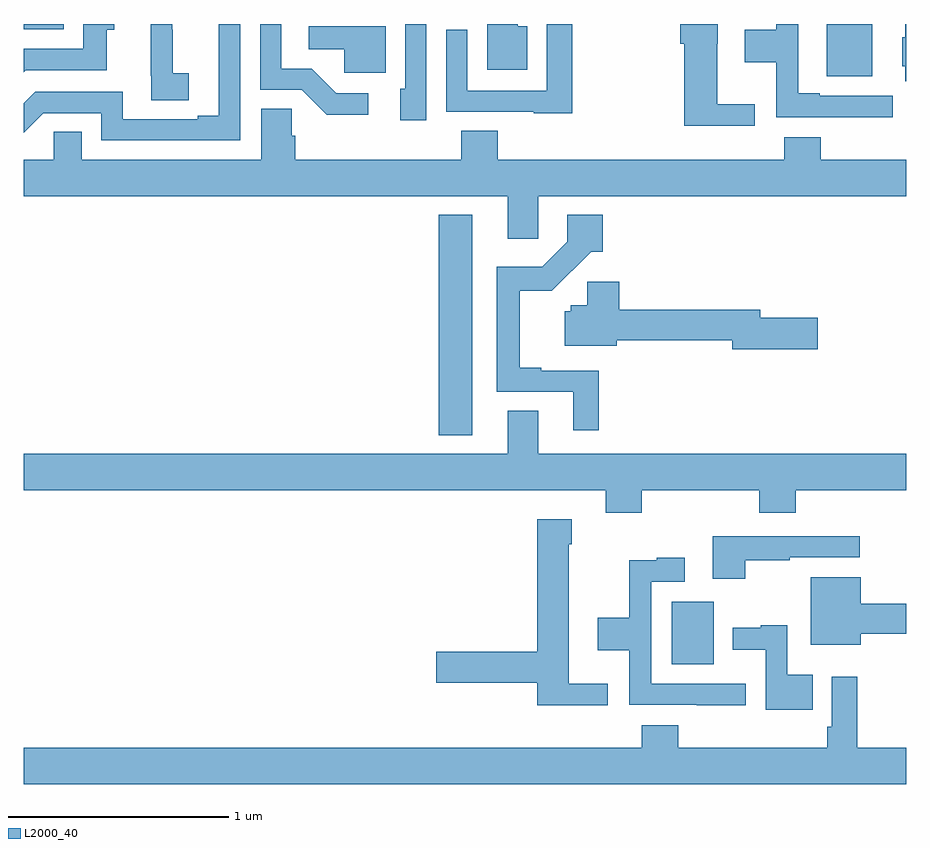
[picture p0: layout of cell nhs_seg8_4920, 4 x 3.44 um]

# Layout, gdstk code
import gdstk
lib = gdstk.Library(unit=1e-6, precision=1e-09)
def R(c, l, rs):  # rectangles x0, y0, x1, y1
    for r in rs: c.add(gdstk.rectangle(r[:2], r[2:], *l))
def P(c, l, *ps):  # polygons
    for p in ps: c.add(gdstk.Polygon(p, *l))
L2000_40 = (2000, 40)

nhs_seg8_4920 = lib.new_cell('nhs_seg8_4920')
R(nhs_seg8_4920, L2000_40, [(409.937,1160.999,410.128,1161.283), (408.881,1162.037,409.033,1163.035), (410.639,1163.663,410.845,1163.9), (407,1163.877,407.181,1163.9)])
P(nhs_seg8_4920, L2000_40, [(409.487,1163.9),(409.371,1163.9),(409.371,1163.598),(409.011,1163.598),(409.011,1163.875),(408.915,1163.875),(408.915,1163.502),(409.311,1163.502),(409.311,1163.495),(409.487,1163.495)],
  [(407.01,1163.691),(407.377,1163.691),(407.377,1163.875),(407.41,1163.875),(407.41,1163.9),(407.27,1163.9),(407.27,1163.787),(407,1163.787),(407,1163.681)],
  [(410.314,1163.537),(410.143,1163.537),(410.143,1163.811),(410.146,1163.811),(410.146,1163.9),(409.976,1163.9),(409.976,1163.811),(409.994,1163.811),(409.994,1163.438),(410.314,1163.438)],
  [(411,1163.9),(410.996,1163.9),(410.996,1163.841),(410.981,1163.841),(410.981,1163.709),(410.996,1163.709),(410.996,1163.64),(411,1163.64)],
  [(408.562,1163.586),(408.417,1163.586),(408.306,1163.697),(408.168,1163.697),(408.168,1163.9),(408.072,1163.9),(408.072,1163.601),(408.261,1163.601),(408.374,1163.489),(408.562,1163.489)],
  [(409.282,1163.89),(409.24,1163.89),(409.24,1163.9),(409.1,1163.9),(409.1,1163.693),(409.282,1163.693)],
  [(410.938,1163.574),(410.608,1163.574),(410.608,1163.587),(410.511,1163.587),(410.511,1163.9),(410.41,1163.9),(410.41,1163.874),(410.268,1163.874),(410.268,1163.726),(410.41,1163.726),(410.41,1163.478),(410.695,1163.478),(410.695,1163.477),(410.938,1163.477)],
  [(408.825,1163.9),(408.729,1163.9),(408.729,1163.607),(408.707,1163.607),(408.707,1163.463),(408.825,1163.463)],
  [(407.982,1163.9),(407.885,1163.9),(407.885,1163.484),(407.789,1163.484),(407.789,1163.469),(407.448,1163.469),(407.448,1163.592),(407.052,1163.592),(407,1163.54),(407,1163.408),(407.088,1163.496),(407.352,1163.496),(407.352,1163.373),(407.982,1163.373)],
  [(407.749,1163.676),(407.675,1163.676),(407.675,1163.873),(407.673,1163.873),(407.673,1163.9),(407.576,1163.9),(407.576,1163.665),(407.578,1163.665),(407.578,1163.554),(407.749,1163.554)],
  [(408.64,1163.89),(408.291,1163.89),(408.291,1163.786),(408.453,1163.786),(408.453,1163.679),(408.64,1163.679)],
  [(408.216,1163.393),(408.216,1163.516),(408.077,1163.516),(408.077,1163.284),(407.263,1163.284),(407.263,1163.411),(407.136,1163.411),(407.136,1163.284),(407,1163.284),(407,1163.12),(409.193,1163.12),(409.193,1162.926),(409.332,1162.926),(409.332,1163.12),(411,1163.12),(411,1163.284),(410.612,1163.284),(410.612,1163.386),(410.447,1163.386),(410.447,1163.284),(409.148,1163.284),(409.148,1163.417),(408.983,1163.417),(408.983,1163.284),(408.23,1163.284),(408.23,1163.393)],
  [(409.607,1162.329),(409.345,1162.329),(409.345,1162.342),(409.249,1162.342),(409.249,1162.691),(409.393,1162.691),(409.571,1162.868),(409.625,1162.868),(409.625,1163.035),(409.464,1163.035),(409.464,1162.914),(409.35,1162.8),(409.145,1162.8),(409.145,1162.233),(409.49,1162.233),(409.49,1162.059),(409.607,1162.059)],
  [(410.599,1162.568),(410.338,1162.568),(410.338,1162.604),(409.7,1162.604),(409.7,1162.731),(409.555,1162.731),(409.555,1162.626),(409.479,1162.626),(409.479,1162.599),(409.451,1162.599),(409.451,1162.442),(409.687,1162.442),(409.687,1162.468),(410.21,1162.468),(410.21,1162.426),(410.599,1162.426)],
  [(409.802,1161.788),(410.333,1161.788),(410.333,1161.686),(410.498,1161.686),(410.498,1161.788),(411,1161.788),(411,1161.952),(409.333,1161.952),(409.333,1162.147),(409.193,1162.147),(409.193,1161.952),(407,1161.952),(407,1161.788),(409.637,1161.788),(409.637,1161.686),(409.802,1161.686)],
  [(409.648,1160.911),(409.471,1160.911),(409.471,1161.542),(409.484,1161.542),(409.484,1161.655),(409.328,1161.655),(409.328,1161.056),(408.87,1161.056),(408.87,1160.914),(409.328,1160.914),(409.328,1160.813),(409.648,1160.813)],
  [(410.271,1161.471),(410.471,1161.471),(410.471,1161.483),(410.788,1161.483),(410.788,1161.579),(410.123,1161.579),(410.123,1161.387),(410.271,1161.387)],
  [(410.272,1160.91),(409.845,1160.91),(409.845,1161.372),(409.996,1161.372),(409.996,1161.481),(409.868,1161.481),(409.868,1161.47),(409.744,1161.47),(409.744,1161.21),(409.602,1161.21),(409.602,1161.062),(409.744,1161.062),(409.744,1160.814),(410.05,1160.814),(410.05,1160.813),(410.272,1160.813)],
  [(410.794,1161.136),(411,1161.136),(411,1161.272),(410.794,1161.272),(410.794,1161.394),(410.567,1161.394),(410.567,1161.086),(410.794,1161.086)],
  [(410.576,1160.95),(410.46,1160.95),(410.46,1161.175),(410.34,1161.175),(410.34,1161.165),(410.213,1161.165),(410.213,1161.065),(410.362,1161.065),(410.362,1160.792),(410.576,1160.792)],
  [(411,1160.62),(410.777,1160.62),(410.777,1160.941),(410.661,1160.941),(410.661,1160.716),(410.641,1160.716),(410.641,1160.62),(409.967,1160.62),(409.967,1160.722),(409.802,1160.722),(409.802,1160.62),(407,1160.62),(407,1160.456),(411,1160.456)])

lib.write_gds('nhs_seg8_4920.gds')
